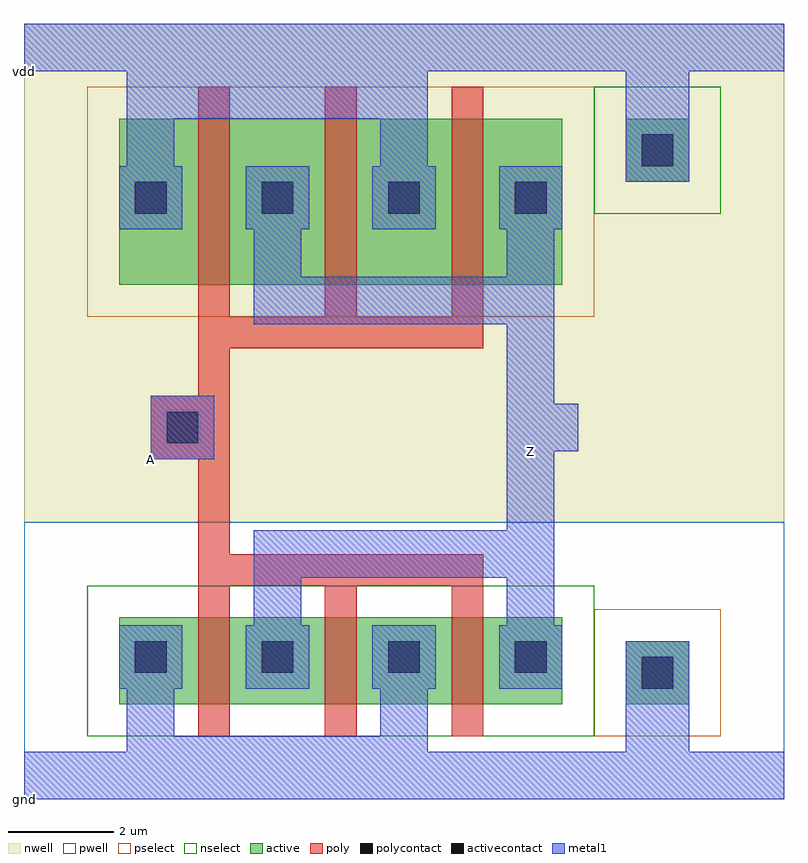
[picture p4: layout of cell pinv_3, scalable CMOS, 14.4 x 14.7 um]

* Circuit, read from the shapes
.subckt pinv_3 A Z gnd vdd
M1 Z A gnd gnd nfet w=1.65u l=0.6u m=3
M2 Z A vdd vdd pfet w=3.15u l=0.6u m=3
.ends

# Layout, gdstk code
import gdstk
lib = gdstk.Library(unit=1e-6, precision=1e-09)
def R(c, l, rs):  # rectangles x0, y0, x1, y1
    for r in rs: c.add(gdstk.rectangle(r[:2], r[2:], *l))
def A(c, l, x, y, w, h, nx, ny, dx, dy):  # array of equal rectangles
    R(c, l, [(x+i*dx, y+j*dy, x+i*dx+w, y+j*dy+h) for i in range(nx) for j in range(ny)])
pwell = (41, 0)
nwell = (42, 0)
active = (43, 0)
pselect = (44, 0)
nselect = (45, 0)
poly = (46, 0)
polycontact = (47, 0)
activecontact = (48, 0)
metal1 = (49, 0)

active_contact_metal1_1x = lib.new_cell('active_contact_metal1_1x1_pn')
R(active_contact_metal1_1x, nwell, [(-1.8,-1.8,3,3), (-1.8,-1.8,3,3)])
R(active_contact_metal1_1x, active, [(0,0,1.2,1.2), (0,0,1.2,1.2)])
R(active_contact_metal1_1x, pselect, [(-0.6,-0.6,1.8,1.8), (-0.6,-0.6,1.8,1.8)])
R(active_contact_metal1_1x, activecontact, [(0.3,0.3,0.9,0.9), (0.3,0.3,0.9,0.9)])
R(active_contact_metal1_1x, metal1, [(0,0,1.2,1.2), (0,0,1.2,1.2)])

pmos_m3_w3_15_a_p = lib.new_cell('pmos_m3_w3_15_a_p')
R(pmos_m3_w3_15_a_p, nwell, [(-1.8,-1.8,10.2,4.95)])
R(pmos_m3_w3_15_a_p, active, [(0,0,8.4,3.15)])
R(pmos_m3_w3_15_a_p, pselect, [(-0.6,-0.6,9,3.75)])
A(pmos_m3_w3_15_a_p, poly, 1.5, -0.6, 0.6, 4.35, 3, 1, 2.4, 0)
R(pmos_m3_w3_15_a_p, poly, [(1.5,-1.2,6.9,-0.6)])
R(pmos_m3_w3_15_a_p, metal1, [(2.55,-0.75,8.25,0.15), (2.55,-0.3,3.45,1.65), (7.35,-0.3,8.25,1.65), (0.15,1.65,1.05,3.6), (4.95,1.65,5.85,3.6), (0.15,3.15,5.85,4.05)])
pmos_m3_w3_15_a_p.add(gdstk.Reference(active_contact_metal1_1x, (0,1.05)))
pmos_m3_w3_15_a_p.add(gdstk.Reference(active_contact_metal1_1x, (4.8,1.05)))
pmos_m3_w3_15_a_p.add(gdstk.Reference(active_contact_metal1_1x, (2.4,1.05)))
pmos_m3_w3_15_a_p.add(gdstk.Reference(active_contact_metal1_1x, (7.2,1.05)))
pmos_m3_w3_15_a_p.add(gdstk.Label('S', (0.15,3.15), layer=49, texttype=0))
pmos_m3_w3_15_a_p.add(gdstk.Label('D', (2.55,-0.75), layer=49, texttype=0))
pmos_m3_w3_15_a_p.add(gdstk.Label('G', (1.5,-1.2), layer=46, texttype=0))

c_active_contact_metal1_1x = lib.new_cell('active_contact_metal1_1x1_np')
R(c_active_contact_metal1_1x, pwell, [(-1.8,-1.8,3,3)])
R(c_active_contact_metal1_1x, active, [(0,0,1.2,1.2)])
R(c_active_contact_metal1_1x, nselect, [(-0.6,-0.6,1.8,1.8)])
R(c_active_contact_metal1_1x, activecontact, [(0.3,0.3,0.9,0.9)])
R(c_active_contact_metal1_1x, metal1, [(0,0,1.2,1.2)])

nmos_m3_w1_65_a_p = lib.new_cell('nmos_m3_w1_65_a_p')
R(nmos_m3_w1_65_a_p, pwell, [(-1.8,-1.8,10.2,3.45)])
R(nmos_m3_w1_65_a_p, active, [(0,0,8.4,1.65)])
R(nmos_m3_w1_65_a_p, nselect, [(-0.6,-0.6,9,2.25)])
A(nmos_m3_w1_65_a_p, poly, 1.5, -0.6, 0.6, 2.85, 3, 1, 2.4, 0)
R(nmos_m3_w1_65_a_p, poly, [(1.5,2.25,6.9,2.85)])
R(nmos_m3_w1_65_a_p, metal1, [(0.15,-1.5,5.85,-0.6), (0.15,-1.05,1.05,0.9), (4.95,-1.05,5.85,0.9), (2.55,0.9,3.45,2.85), (7.35,0.9,8.25,2.85), (2.55,2.4,8.25,3.3)])
nmos_m3_w1_65_a_p.add(gdstk.Reference(c_active_contact_metal1_1x, (0,0.3)))
nmos_m3_w1_65_a_p.add(gdstk.Reference(c_active_contact_metal1_1x, (4.8,0.3)))
nmos_m3_w1_65_a_p.add(gdstk.Reference(c_active_contact_metal1_1x, (2.4,0.3)))
nmos_m3_w1_65_a_p.add(gdstk.Reference(c_active_contact_metal1_1x, (7.2,0.3)))
nmos_m3_w1_65_a_p.add(gdstk.Label('S', (0.15,-1.5), layer=49, texttype=0))
nmos_m3_w1_65_a_p.add(gdstk.Label('D', (2.55,2.4), layer=49, texttype=0))
nmos_m3_w1_65_a_p.add(gdstk.Label('G', (1.5,2.25), layer=46, texttype=0))

c_active_contact_metal1_1x_ = lib.new_cell('active_contact_metal1_1x1_nn')
R(c_active_contact_metal1_1x_, nwell, [(-1.8,-1.8,3,3), (-1.8,-1.8,3,3)])
R(c_active_contact_metal1_1x_, active, [(0,0,1.2,1.2), (0,0,1.2,1.2)])
R(c_active_contact_metal1_1x_, nselect, [(-0.6,-0.6,1.8,1.8), (-0.6,-0.6,1.8,1.8)])
R(c_active_contact_metal1_1x_, activecontact, [(0.3,0.3,0.9,0.9), (0.3,0.3,0.9,0.9)])
R(c_active_contact_metal1_1x_, metal1, [(0,0,1.2,1.2), (0,0,1.2,1.2)])

c_active_contact_metal1_1x__ = lib.new_cell('active_contact_metal1_1x1_pp')
R(c_active_contact_metal1_1x__, pwell, [(-1.8,-1.8,3,3)])
R(c_active_contact_metal1_1x__, active, [(0,0,1.2,1.2)])
R(c_active_contact_metal1_1x__, pselect, [(-0.6,-0.6,1.8,1.8)])
R(c_active_contact_metal1_1x__, activecontact, [(0.3,0.3,0.9,0.9)])
R(c_active_contact_metal1_1x__, metal1, [(0,0,1.2,1.2)])

poly_contact_metal1_1x1 = lib.new_cell('poly_contact_metal1_1x1')
R(poly_contact_metal1_1x1, poly, [(0,0,1.2,1.2), (0,0,1.2,1.2)])
R(poly_contact_metal1_1x1, polycontact, [(0.3,0.3,0.9,0.9), (0.3,0.3,0.9,0.9)])
R(poly_contact_metal1_1x1, metal1, [(0,0,1.2,1.2), (0,0,1.2,1.2)])

pinv_3 = lib.new_cell('pinv_3')
R(pinv_3, pwell, [(0,-0.45,14.4,4.8)])
R(pinv_3, nwell, [(0,4.8,14.4,14.25)])
R(pinv_3, poly, [(3.3,3.6,3.9,8.1), (3,6,3.3,7.2)])
R(pinv_3, metal1, [(0,-0.45,14.4,0.45), (11.4,0,12.6,1.95), (9.15,3.75,10.05,8.55), (2.4,6,3.6,7.2), (9.6,6.15,10.5,7.05), (11.4,11.85,12.6,13.8), (1.95,12.45,7.65,14.25), (0,13.35,14.4,14.25)])
pinv_3.add(gdstk.Reference(pmos_m3_w3_15_a_p, (1.8,9.3)))
pinv_3.add(gdstk.Reference(nmos_m3_w1_65_a_p, (1.8,1.35)))
pinv_3.add(gdstk.Reference(c_active_contact_metal1_1x_, (11.4,11.25)))
pinv_3.add(gdstk.Reference(c_active_contact_metal1_1x__, (11.4,1.35)))
pinv_3.add(gdstk.Reference(poly_contact_metal1_1x1, (2.4,6)))
pinv_3.add(gdstk.Label('A', (2.4,6), layer=49, texttype=0))
pinv_3.add(gdstk.Label('Z', (9.6,6.15), layer=49, texttype=0))
pinv_3.add(gdstk.Label('vdd', (0,13.35), layer=49, texttype=0))
pinv_3.add(gdstk.Label('gnd', (0,-0.45), layer=49, texttype=0))

lib.write_gds('pinv_3.gds')
